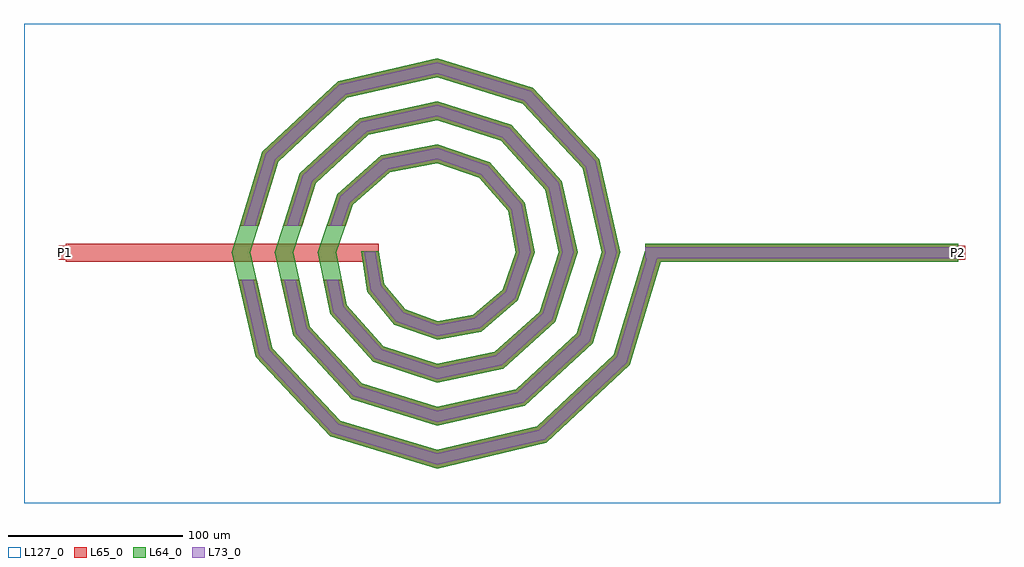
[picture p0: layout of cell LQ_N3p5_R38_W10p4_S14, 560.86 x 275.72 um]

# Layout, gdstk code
import gdstk
lib = gdstk.Library(unit=1e-6, precision=1e-09)
def R(c, l, rs):  # rectangles x0, y0, x1, y1
    for r in rs: c.add(gdstk.rectangle(r[:2], r[2:], *l))
def P(c, l, *ps):  # polygons
    for p in ps: c.add(gdstk.Polygon(p, *l))
L64_0 = (64, 0)
L65_0 = (65, 0)
L73_0 = (73, 0)
L127_0 = (127, 0)

lq_n3p5_r38_w10p4_s14 = lib.new_cell('LQ_N3p5_R38_W10p4_S14')
R(lq_n3p5_r38_w10p4_s14, L64_0, [(119.62,-5.2,299.62,5.2)])
P(lq_n3p5_r38_w10p4_s14, L64_0, [(-30.17,-18.006),(-18.174,-32.446),(0.462,-39.241),(21.031,-35.543),(37.755,-21.309),(45.407,0.406),(40.909,24.07),(24.434,43.073),(0.362,51.575),(-27.118,46.271),(-48.395,27.551),(-57.743,0.327),(-51.63,-30.174),(-30.662,-53.722),(0.298,-63.912),(33.235,-56.986),(59.052,-33.769),(70.081,0.274),(62.34,36.299),(36.872,64.384),(0.253,76.25),(-39.367,67.692),(-69.717,39.973),(-82.42,0.235),(-73.044,-42.437),(-43.072,-75.052),(0.22,-88.59),(45.509,-78.394),(80.388,-46.169),(94.759,0.206),(83.744,48.583),(49.265,85.725),(0.194,100.929),(-51.658,89.093),(-91.063,52.359),(-107.099,0.184),(-94.441,-54.734),(-55.453,-96.401),(0.174,-113.269),(57.811,-99.789),(101.74,-58.545),(119.842,1.501),(129.799,-1.501),(110.892,-64.218),(62.896,-109.281),(0.174,-124.031),(-61.14,-105.544),(-103.942,-59.802),(-117.861,0.184),(-100.195,58.064),(-56.708,98.603),(0.194,111.69),(54.988,94.846),(93.265,53.613),(105.519,0.206),(89.496,-51.914),(50.517,-87.927),(0.22,-99.349),(-48.84,-84.145),(-82.591,-47.418),(-93.178,0.235),(-78.793,45.769),(-44.318,77.255),(0.253,87.007),(42.7,73.439),(71.921,41.216),(80.836,0.274),(68.084,-39.633),(38.11,-66.588),(0.298,-74.665),(-36.57,-62.727),(-61.257,-35.001),(-68.493,0.327),(-57.366,33.511),(-31.886,55.928),(0.362,62.321),(30.457,52.002),(50.603,28.765),(56.148,0.406),(46.632,-27.412),(25.634,-45.282),(0.462,-49.974),(-24.377,-41.254),(-39.968,-22.488),(-43.567,0.853),(-33.308,0.853)])
R(lq_n3p5_r38_w10p4_s14, L65_0, [(-213.237,-5.2,-33.237,5.2), (119.62,-5.2,299.62,5.2), (-217.237,-4,-209.237,4), (295.62,-4,303.62,4)])
P(lq_n3p5_r38_w10p4_s14, L65_0, [(-94.441,-54.734),(-55.453,-96.401),(0.174,-113.269),(57.811,-99.789),(101.74,-58.545),(119.842,1.501),(129.799,-1.501),(110.892,-64.218),(62.896,-109.281),(0.174,-124.031),(-61.141,-105.544),(-103.942,-59.803),(-114.198,-15.6),(-103.522,-15.6)],
  [(-73.044,-42.437),(-43.072,-75.052),(0.22,-88.59),(45.509,-78.394),(80.388,-46.169),(94.759,0.206),(83.744,48.583),(49.265,85.725),(0.194,100.929),(-51.658,89.093),(-91.063,52.359),(-102.282,15.6),(-113.155,15.6),(-100.195,58.064),(-56.708,98.603),(0.194,111.69),(54.988,94.846),(93.265,53.613),(105.519,0.206),(89.496,-51.914),(50.517,-87.927),(0.22,-99.349),(-48.841,-84.145),(-82.591,-47.419),(-89.66,-15.6),(-79.006,-15.6)],
  [(-51.63,-30.174),(-30.662,-53.722),(0.298,-63.912),(33.235,-56.986),(59.052,-33.769),(70.081,0.274),(62.34,36.299),(36.872,64.384),(0.253,76.25),(-39.367,67.692),(-69.717,39.973),(-77.417,15.6),(-88.324,15.6),(-78.793,45.769),(-44.318,77.255),(0.253,87.007),(42.7,73.439),(71.921,41.216),(80.836,0.274),(68.084,-39.633),(38.11,-66.588),(0.298,-74.665),(-36.57,-62.727),(-61.257,-35.001),(-65.231,-15.6),(-54.615,-15.6)],
  [(-18.174,-32.446),(0.462,-39.241),(21.031,-35.543),(37.755,-21.31),(45.407,0.406),(40.909,24.07),(24.434,43.073),(0.362,51.575),(-27.118,46.271),(-48.395,27.551),(-52.403,15.6),(-63.372,15.6),(-57.366,33.511),(-31.886,55.928),(0.362,62.321),(30.457,52.002),(50.603,28.765),(56.148,0.406),(46.632,-27.412),(25.634,-45.282),(0.462,-49.974),(-24.377,-41.254),(-39.968,-22.488),(-43.567,0.853),(-33.308,0.853),(-30.17,-18.006)])
R(lq_n3p5_r38_w10p4_s14, L73_0, [(119.62,-3.2,299.62,3.2)])
P(lq_n3p5_r38_w10p4_s14, L73_0, [(-96.268,-55.709),(-56.547,-98.16),(0.107,-115.339),(58.789,-101.615),(103.5,-59.636),(121.756,0.924),(127.884,0.924),(109.132,-63.127),(61.918,-107.456),(0.107,-121.961),(-60.047,-103.786),(-102.115,-58.828),(-112.145,-15.6),(-105.575,-15.6)],
  [(-74.88,-43.395),(-44.181,-76.801),(0.135,-90.659),(46.472,-80.228),(82.14,-47.274),(96.829,0.127),(85.575,49.55),(50.365,87.479),(0.12,102.999),(-52.629,90.922),(-92.819,53.456),(-104.373,15.6),(-111.064,15.6),(-98.439,56.967),(-55.737,96.774),(0.12,109.621),(53.888,93.092),(91.434,52.646),(103.45,0.127),(87.744,-50.809),(49.554,-86.094),(0.135,-97.28),(-47.731,-82.396),(-80.755,-46.461),(-87.611,-15.6),(-81.055,-15.6)],
  [(-53.481,-31.102),(-31.798,-55.454),(0.183,-65.98),(34.172,-58.832),(60.789,-34.897),(72.149,0.168),(64.182,37.245),(37.993,66.125),(0.156,78.319),(-40.319,69.531),(-71.462,41.088),(-79.515,15.6),(-86.226,15.6),(-77.047,44.655),(-43.366,75.416),(0.156,84.939),(41.579,71.698),(70.078,40.27),(78.768,0.168),(66.347,-38.505),(37.173,-64.741),(0.183,-72.597),(-35.434,-60.995),(-59.405,-34.073),(-63.189,-15.6),(-56.656,-15.6)],
  [(-19.367,-34.14),(0.284,-41.305),(21.916,-37.416),(39.462,-22.483),(47.473,0.25),(42.773,24.973),(25.592,44.79),(0.223,53.642),(-28.035,48.128),(-50.121,28.697),(-54.512,15.6),(-61.262,15.6),(-55.641,32.364),(-30.97,54.071),(0.223,60.254),(29.299,50.285),(48.739,27.862),(54.083,0.25),(44.925,-26.238),(24.748,-43.409),(0.284,-47.91),(-23.184,-39.56),(-38.083,-21.626),(-41.594,0.525),(-35.281,0.525),(-32.054,-18.868)])
R(lq_n3p5_r38_w10p4_s14, L127_0, [(-237.237,-144.031,323.62,131.69)])
lq_n3p5_r38_w10p4_s14.add(gdstk.Label('P2', (299.62,0), layer=65, texttype=0))
lq_n3p5_r38_w10p4_s14.add(gdstk.Label('P1', (-213.237,0), layer=65, texttype=0))
lq_n3p5_r38_w10p4_s14.add(gdstk.Label('P2', (303.62,0), layer=145, texttype=0))
lq_n3p5_r38_w10p4_s14.add(gdstk.Label('P1', (-217.237,0), layer=145, texttype=0))

lib.write_gds('LQ_N3p5_R38_W10p4_S14.gds')
